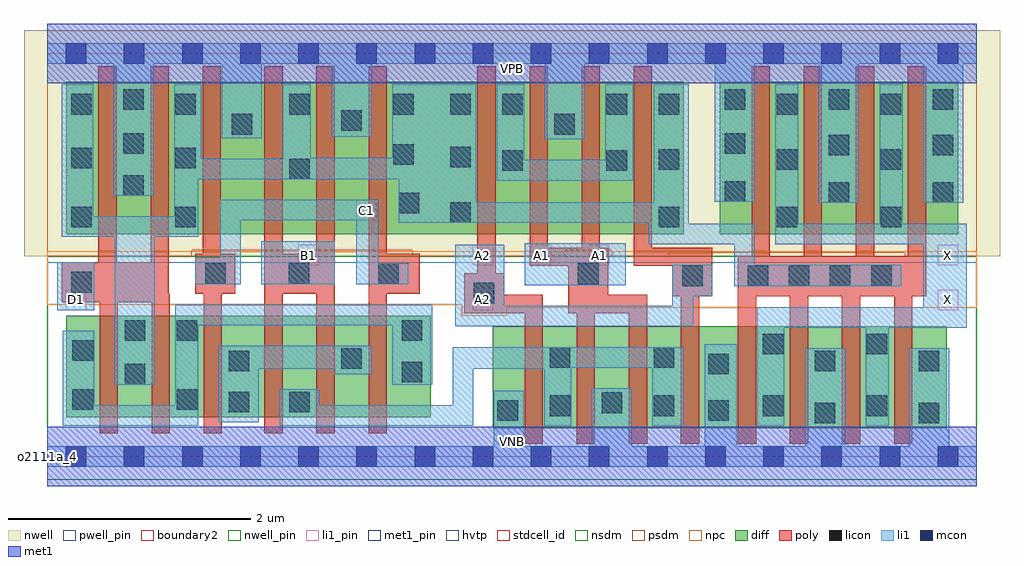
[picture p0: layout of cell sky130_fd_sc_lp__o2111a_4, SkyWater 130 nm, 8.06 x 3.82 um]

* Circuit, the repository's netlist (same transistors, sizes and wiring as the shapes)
* Copyright 2020 The SkyWater PDK Authors
*
* Licensed under the Apache License, Version 2.0 (the "License");
* you may not use this file except in compliance with the License.
* You may obtain a copy of the License at
*
*     https://www.apache.org/licenses/LICENSE-2.0
*
* Unless required by applicable law or agreed to in writing, software
* distributed under the License is distributed on an "AS IS" BASIS,
* WITHOUT WARRANTIES OR CONDITIONS OF ANY KIND, either express or implied.
* See the License for the specific language governing permissions and
* limitations under the License.
*
* SPDX-License-Identifier: Apache-2.0

.SUBCKT sky130_fd_sc_lp__o2111a_4 A1 A2 B1 C1 D1 VGND VNB VPB VPWR X
*.PININFO A1:I A2:I B1:I C1:I D1:I VGND:I VNB:I VPB:I VPWR:I X:O
MMPA0 VPWR A1 sndA1 VPB sky130_fd_pr__pfet_01v8_hvt m=2 w=1.26U l=0.15U mult=1
+ sa=0.265 sb=0.265 sd=0.28 area=0.063 perim=1.14
MMPA1 sndA1 A2 y VPB sky130_fd_pr__pfet_01v8_hvt m=2 w=1.26U l=0.15U mult=1 sa=0.265
+ sb=0.265 sd=0.28 area=0.063 perim=1.14
MMPB0 VPWR B1 y VPB sky130_fd_pr__pfet_01v8_hvt m=2 w=1.26U l=0.15U mult=1 sa=0.265
+ sb=0.265 sd=0.28 area=0.063 perim=1.14
MMPC0 VPWR C1 y VPB sky130_fd_pr__pfet_01v8_hvt m=2 w=1.26U l=0.15U mult=1 sa=0.265
+ sb=0.265 sd=0.28 area=0.063 perim=1.14
MMPD0 VPWR D1 y VPB sky130_fd_pr__pfet_01v8_hvt m=2 w=1.26U l=0.15U mult=1 sa=0.265
+ sb=0.265 sd=0.28 area=0.063 perim=1.14
MMIPX X y VPWR VPB sky130_fd_pr__pfet_01v8_hvt m=4 w=1.26U l=0.15U mult=1 sa=0.265
+ sb=0.265 sd=0.28 area=0.063 perim=1.14
MMNA0 pndA A1 VGND VNB sky130_fd_pr__nfet_01v8 m=2 w=0.84U l=0.15U mult=1 sa=0.265
+ sb=0.265 sd=0.28 area=0.063 perim=1.14
MMNA1 pndA A2 VGND VNB sky130_fd_pr__nfet_01v8 m=2 w=0.84U l=0.15U mult=1 sa=0.265
+ sb=0.265 sd=0.28 area=0.063 perim=1.14
MMNB0 pndB B1 pndA VNB sky130_fd_pr__nfet_01v8 m=2 w=0.84U l=0.15U mult=1 sa=0.265
+ sb=0.265 sd=0.28 area=0.063 perim=1.14
MMNC0 pndC C1 pndB VNB sky130_fd_pr__nfet_01v8 m=2 w=0.84U l=0.15U mult=1 sa=0.265
+ sb=0.265 sd=0.28 area=0.063 perim=1.14
MMND0 y D1 pndC VNB sky130_fd_pr__nfet_01v8 m=2 w=0.84U l=0.15U mult=1 sa=0.265
+ sb=0.265 sd=0.28 area=0.063 perim=1.14
MMINX X y VGND VNB sky130_fd_pr__nfet_01v8 m=4 w=0.84U l=0.15U mult=1 sa=0.265
+ sb=0.265 sd=0.28 area=0.063 perim=1.14
.ENDS sky130_fd_sc_lp__o2111a_4

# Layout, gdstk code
import gdstk
lib = gdstk.Library(unit=1e-6, precision=1e-09)
def R(c, l, rs):  # rectangles x0, y0, x1, y1
    for r in rs: c.add(gdstk.rectangle(r[:2], r[2:], *l))
def A(c, l, x, y, w, h, nx, ny, dx, dy):  # array of equal rectangles
    R(c, l, [(x+i*dx, y+j*dy, x+i*dx+w, y+j*dy+h) for i in range(nx) for j in range(ny)])
def P(c, l, *ps):  # polygons
    for p in ps: c.add(gdstk.Polygon(p, *l))
nwell_pin = (64, 16)
nwell = (64, 20)
diff = (65, 20)
poly = (66, 20)
licon = (66, 44)
li1_pin = (67, 16)
li1 = (67, 20)
mcon = (67, 44)
met1_pin = (68, 16)
met1 = (68, 20)
hvtp = (78, 44)
stdcell_id = (81, 4)
nsdm = (93, 44)
psdm = (94, 20)
npc = (95, 20)
pwell_pin = (122, 16)
boundary2 = (236, 0)

sky130_fd_sc_lp__o2111a_ = lib.new_cell('sky130_fd_sc_lp__o2111a_4')
R(sky130_fd_sc_lp__o2111a_, nwell_pin, [(0,3.085,7.68,3.33)])
R(sky130_fd_sc_lp__o2111a_, nwell, [(-0.19,1.655,7.87,3.52)])
R(sky130_fd_sc_lp__o2111a_, diff, [(3.68,0.235,7.43,1.075), (0.16,0.325,3.17,1.165), (0.16,1.835,5.26,3.095), (5.555,1.835,7.525,3.095)])
P(sky130_fd_sc_lp__o2111a_, poly, [(1.015,1.345),(1.005,1.345),(1.005,3.225),(0.855,3.225),(0.855,1.605),(0.575,1.605),(0.575,3.225),(0.425,3.225),(0.425,1.605),(0.12,1.605),(0.12,1.275),(0.435,1.275),(0.435,0.195),(0.585,0.195),(0.585,1.275),(0.865,1.275),(0.865,0.195),(1.015,0.195)],
  [(1.555,1.675),(1.435,1.675),(1.435,3.225),(1.285,3.225),(1.285,1.675),(1.225,1.675),(1.225,1.345),(1.295,1.345),(1.295,0.195),(1.445,0.195),(1.445,1.345),(1.555,1.345)],
  [(2.375,3.225),(2.225,3.225),(2.225,1.675),(1.945,1.675),(1.945,3.225),(1.795,3.225),(1.795,0.195),(1.945,0.195),(1.945,1.345),(2.225,1.345),(2.225,0.195),(2.375,0.195)],
  [(3.08,1.675),(2.805,1.675),(2.805,3.225),(2.655,3.225),(2.655,0.195),(2.805,0.195),(2.805,1.345),(3.08,1.345)],
  [(4.095,1.335),(3.775,1.335),(3.775,1.515),(3.705,1.515),(3.705,3.225),(3.555,3.225),(3.555,1.515),(3.445,1.515),(3.445,1.185),(3.945,1.185),(3.945,0.105),(4.095,0.105)],
  [(4.955,1.335),(4.635,1.335),(4.635,1.725),(4.565,1.725),(4.565,3.225),(4.415,3.225),(4.415,1.725),(4.135,1.725),(4.135,3.225),(3.985,3.225),(3.985,1.575),(4.305,1.575),(4.305,1.185),(4.375,1.185),(4.375,0.105),(4.525,0.105),(4.525,1.185),(4.805,1.185),(4.805,0.105),(4.955,0.105)],
  [(5.495,1.725),(4.995,1.725),(4.995,3.225),(4.845,3.225),(4.845,1.575),(5.165,1.575),(5.165,1.325),(5.235,1.325),(5.235,0.105),(5.385,0.105),(5.385,1.325),(5.495,1.325)],
  [(7.26,3.225),(7.11,3.225),(7.11,1.655),(6.83,1.655),(6.83,3.225),(6.68,3.225),(6.68,1.655),(6.4,1.655),(6.4,3.225),(6.25,3.225),(6.25,1.655),(5.97,1.655),(5.97,3.225),(5.82,3.225),(5.82,1.655),(5.705,1.655),(5.705,0.105),(5.855,0.105),(5.855,1.325),(6.135,1.325),(6.135,0.105),(6.285,0.105),(6.285,1.325),(6.565,1.325),(6.565,0.105),(6.715,0.105),(6.715,1.325),(6.995,1.325),(6.995,0.105),(7.145,0.105),(7.145,1.325),(7.26,1.325)])
A(sky130_fd_sc_lp__o2111a_, licon, 5.785, 1.405, 0.17, 0.17, 4, 1, 0.34, 0)
A(sky130_fd_sc_lp__o2111a_, licon, 5.595, 2.865, 0.17, 0.17, 3, 1, 0.86, 0)
R(sky130_fd_sc_lp__o2111a_, licon, [(6.34,0.275,6.51,0.445), (7.2,0.275,7.37,0.445), (3.72,0.295,3.89,0.465), (5.46,0.295,5.63,0.465), (4.15,0.335,4.32,0.505), (5.01,0.335,5.18,0.505), (5.91,0.335,6.08,0.505), (6.77,0.335,6.94,0.505), (4.58,0.36,4.75,0.53), (1.5,0.365,1.67,0.535), (2,0.365,2.17,0.535), (0.21,0.385,0.38,0.555), (1.07,0.385,1.24,0.555), (0.64,0.595,0.81,0.765), (2.93,0.615,3.1,0.785), (5.46,0.68,5.63,0.85), (1.5,0.705,1.67,0.875), (6.34,0.705,6.51,0.875), (7.2,0.705,7.37,0.875), (2.43,0.725,2.6,0.895), (4.15,0.735,4.32,0.905), (5.01,0.735,5.18,0.905), (0.21,0.79,0.38,0.96), (5.91,0.845,6.08,1.015), (6.77,0.845,6.94,1.015), (0.64,0.955,0.81,1.125), (1.07,0.955,1.24,1.125), (2.93,0.955,3.1,1.125), (3.525,1.265,3.695,1.435), (0.2,1.355,0.37,1.525), (5.245,1.405,5.415,1.575), (1.305,1.425,1.475,1.595), (1.995,1.425,2.165,1.595), (2.735,1.425,2.905,1.595), (4.385,1.425,4.555,1.595), (0.2,1.895,0.37,2.065), (1.06,1.895,1.23,2.065), (5.05,1.895,5.22,2.065), (6.025,1.895,6.195,2.065), (6.885,1.895,7.055,2.065), (3.33,1.93,3.5,2.1), (2.905,2.01,3.075,2.18), (6.455,2.095,6.625,2.265), (7.315,2.095,7.485,2.265), (5.595,2.105,5.765,2.275), (0.63,2.155,0.8,2.325), (2,2.29,2.17,2.46), (3.76,2.36,3.93,2.53), (4.62,2.36,4.79,2.53), (5.05,2.37,5.22,2.54), (6.025,2.37,6.195,2.54), (6.885,2.37,7.055,2.54), (0.2,2.38,0.37,2.55), (1.06,2.38,1.23,2.55), (3.33,2.39,3.5,2.56), (2.86,2.41,3.03,2.58), (6.455,2.49,6.625,2.66), (7.315,2.49,7.485,2.66), (0.63,2.5,0.8,2.67), (5.595,2.5,5.765,2.67), (1.525,2.66,1.695,2.83), (4.19,2.66,4.36,2.83), (2.43,2.69,2.6,2.86), (0.2,2.825,0.37,2.995), (1.06,2.825,1.23,2.995), (2,2.825,2.17,2.995), (2.86,2.825,3.03,2.995), (3.33,2.825,3.5,2.995), (3.76,2.825,3.93,2.995), (4.62,2.825,4.79,2.995), (5.05,2.825,5.22,2.995), (6.025,2.825,6.195,2.995), (6.885,2.825,7.055,2.995), (0.63,2.865,0.8,3.035)])
A(sky130_fd_sc_lp__o2111a_, li1_pin, 3.515, 1.58, 0.17, 0.17, 3, 1, 0.48, 0)
R(sky130_fd_sc_lp__o2111a_, li1_pin, [(0.155,1.21,0.325,1.38), (3.515,1.21,3.685,1.38), (7.355,1.21,7.525,1.38), (2.075,1.58,2.245,1.75), (7.355,1.58,7.525,1.75), (2.555,1.95,2.725,2.12)])
R(sky130_fd_sc_lp__o2111a_, li1, [(0.085,1.21,0.39,1.605), (3.945,1.415,4.78,1.76), (1.77,1.425,2.375,1.78)])
P(sky130_fd_sc_lp__o2111a_, li1, [(2.68,0.915),(1.42,0.915),(1.42,0.285),(1.75,0.285),(1.75,0.725),(2.375,0.725),(2.375,0.68),(2.68,0.68)],
  [(2.985,1.595),(2.735,1.595),(2.735,2.12),(1.43,2.12),(1.43,1.645),(1.225,1.645),(1.225,1.425),(1.6,1.425),(1.6,1.95),(2.555,1.95),(2.555,1.425),(2.985,1.425)],
  [(3.18,1.255),(1.06,1.255),(1.06,0.425),(0.39,0.425),(0.39,1.04),(0.13,1.04),(0.13,0.255),(1.25,0.255),(1.25,1.085),(2.85,1.085),(2.85,0.595),(3.18,0.595)],
  [(4.84,3.075),(4.61,3.075),(4.61,2.45),(3.94,2.45),(3.94,3.075),(3.715,3.075),(3.715,2.28),(4.84,2.28)],
  [(5.26,0.905),(3.35,0.905),(3.35,0.425),(2.25,0.425),(2.25,0.555),(1.92,0.555),(1.92,0.255),(3.52,0.255),(3.52,0.725),(4.105,0.725),(4.105,0.255),(4.33,0.255),(4.33,0.735),(5,0.735),(5,0.255),(5.26,0.255)],
  [(5.495,1.585),(5.165,1.585),(5.165,1.245),(3.775,1.245),(3.775,1.75),(3.37,1.75),(3.37,1.075),(5.335,1.075),(5.335,1.325),(5.495,1.325)],
  [(7.055,1.585),(5.845,1.585),(5.845,1.925),(5.3,1.925),(5.3,3.075),(5.01,3.075),(5.01,2.1),(3.545,2.1),(3.545,3.075),(2.85,3.075),(2.85,2.47),(2.18,2.47),(2.18,3.075),(1.945,3.075),(1.945,2.46),(1.275,2.46),(1.275,3.075),(1.05,3.075),(1.05,1.985),(0.38,1.985),(0.38,3.075),(0.12,3.075),(0.12,1.815),(0.56,1.815),(0.56,0.595),(0.89,0.595),(0.89,1.815),(1.25,1.815),(1.25,2.29),(2.905,2.29),(2.905,1.93),(4.97,1.93),(4.97,1.755),(5.675,1.755),(5.675,1.405),(7.055,1.405)],
  [(7.595,1.925),(7.065,1.925),(7.065,3.075),(6.875,3.075),(6.875,1.925),(6.205,1.925),(6.205,3.075),(6.015,3.075),(6.015,1.755),(7.235,1.755),(7.235,1.235),(5.865,1.235),(5.865,0.255),(6.09,0.255),(6.09,1.065),(6.76,1.065),(6.76,0.255),(6.95,0.255),(6.95,1.065),(7.595,1.065)],
  [(7.68,3.415),(0,3.415),(0,3.245),(0.55,3.245),(0.55,2.155),(0.88,2.155),(0.88,3.245),(1.445,3.245),(1.445,2.63),(1.775,2.63),(1.775,3.245),(2.35,3.245),(2.35,2.64),(2.68,2.64),(2.68,3.245),(4.11,3.245),(4.11,2.62),(4.44,2.62),(4.44,3.245),(5.515,3.245),(5.515,2.105),(5.845,2.105),(5.845,3.245),(6.375,3.245),(6.375,2.095),(6.705,2.095),(6.705,3.245),(7.235,3.245),(7.235,2.095),(7.565,2.095),(7.565,3.245),(7.68,3.245)],
  [(7.68,0.085),(7.45,0.085),(7.45,0.895),(7.12,0.895),(7.12,0.085),(6.59,0.085),(6.59,0.895),(6.26,0.895),(6.26,0.085),(5.695,0.085),(5.695,0.93),(5.43,0.93),(5.43,0.085),(4.83,0.085),(4.83,0.565),(4.5,0.565),(4.5,0.085),(3.935,0.085),(3.935,0.545),(3.69,0.545),(3.69,0.085),(0,0.085),(0,-0.085),(7.68,-0.085)])
A(sky130_fd_sc_lp__o2111a_, mcon, 0.155, -0.085, 0.17, 0.17, 16, 2, 0.48, 3.33)
R(sky130_fd_sc_lp__o2111a_, met1_pin, [(0,0,7.68,0.245), (0,3.085,7.68,3.33)])
R(sky130_fd_sc_lp__o2111a_, met1, [(0,-0.245,7.68,0.245), (0,3.085,7.68,3.575)])
R(sky130_fd_sc_lp__o2111a_, hvtp, [(0,1.6,7.68,3.33)])
R(sky130_fd_sc_lp__o2111a_, stdcell_id, [(0,0,7.68,3.33)])
R(sky130_fd_sc_lp__o2111a_, nsdm, [(0,-0.19,7.68,1.655)])
P(sky130_fd_sc_lp__o2111a_, psdm, [(7.68,3.52),(0,3.52),(0,1.655),(1.195,1.655),(1.195,1.705),(3.015,1.705),(3.015,1.655),(4.275,1.655),(4.275,1.705),(4.665,1.705),(4.665,1.655),(5.135,1.655),(5.135,1.685),(7.085,1.685),(7.085,1.655),(7.68,1.655)])
P(sky130_fd_sc_lp__o2111a_, npc, [(7.68,1.695),(0,1.695),(0,1.255),(3.425,1.255),(3.425,1.165),(3.795,1.165),(3.795,1.23),(7.68,1.23)])
R(sky130_fd_sc_lp__o2111a_, pwell_pin, [(0,0,7.68,0.245)])
R(sky130_fd_sc_lp__o2111a_, boundary2, [(0,0,7.68,3.33)])
sky130_fd_sc_lp__o2111a_.add(gdstk.Label('VNB', (3.84,0.123), layer=64, texttype=59))
sky130_fd_sc_lp__o2111a_.add(gdstk.Label('VPB', (3.84,3.208), layer=64, texttype=5))
sky130_fd_sc_lp__o2111a_.add(gdstk.Label('o2111a_4', (0,0), layer=83, texttype=44))
sky130_fd_sc_lp__o2111a_.add(gdstk.Label('VPWR', (3.84,3.208), layer=68, texttype=5))
sky130_fd_sc_lp__o2111a_.add(gdstk.Label('VGND', (3.84,0.123), layer=68, texttype=5))
sky130_fd_sc_lp__o2111a_.add(gdstk.Label('A1', (4.08,1.665), layer=67, texttype=5))
sky130_fd_sc_lp__o2111a_.add(gdstk.Label('A1', (4.56,1.665), layer=67, texttype=5))
sky130_fd_sc_lp__o2111a_.add(gdstk.Label('A2', (3.6,1.295), layer=67, texttype=5))
sky130_fd_sc_lp__o2111a_.add(gdstk.Label('A2', (3.6,1.665), layer=67, texttype=5))
sky130_fd_sc_lp__o2111a_.add(gdstk.Label('D1', (0.24,1.295), layer=67, texttype=5))
sky130_fd_sc_lp__o2111a_.add(gdstk.Label('X', (7.44,1.295), layer=67, texttype=5))
sky130_fd_sc_lp__o2111a_.add(gdstk.Label('X', (7.44,1.665), layer=67, texttype=5))
sky130_fd_sc_lp__o2111a_.add(gdstk.Label('B1', (2.16,1.665), layer=67, texttype=5))
sky130_fd_sc_lp__o2111a_.add(gdstk.Label('C1', (2.64,2.035), layer=67, texttype=5))

lib.write_gds('sky130_fd_sc_lp__o2111a_4.gds')
